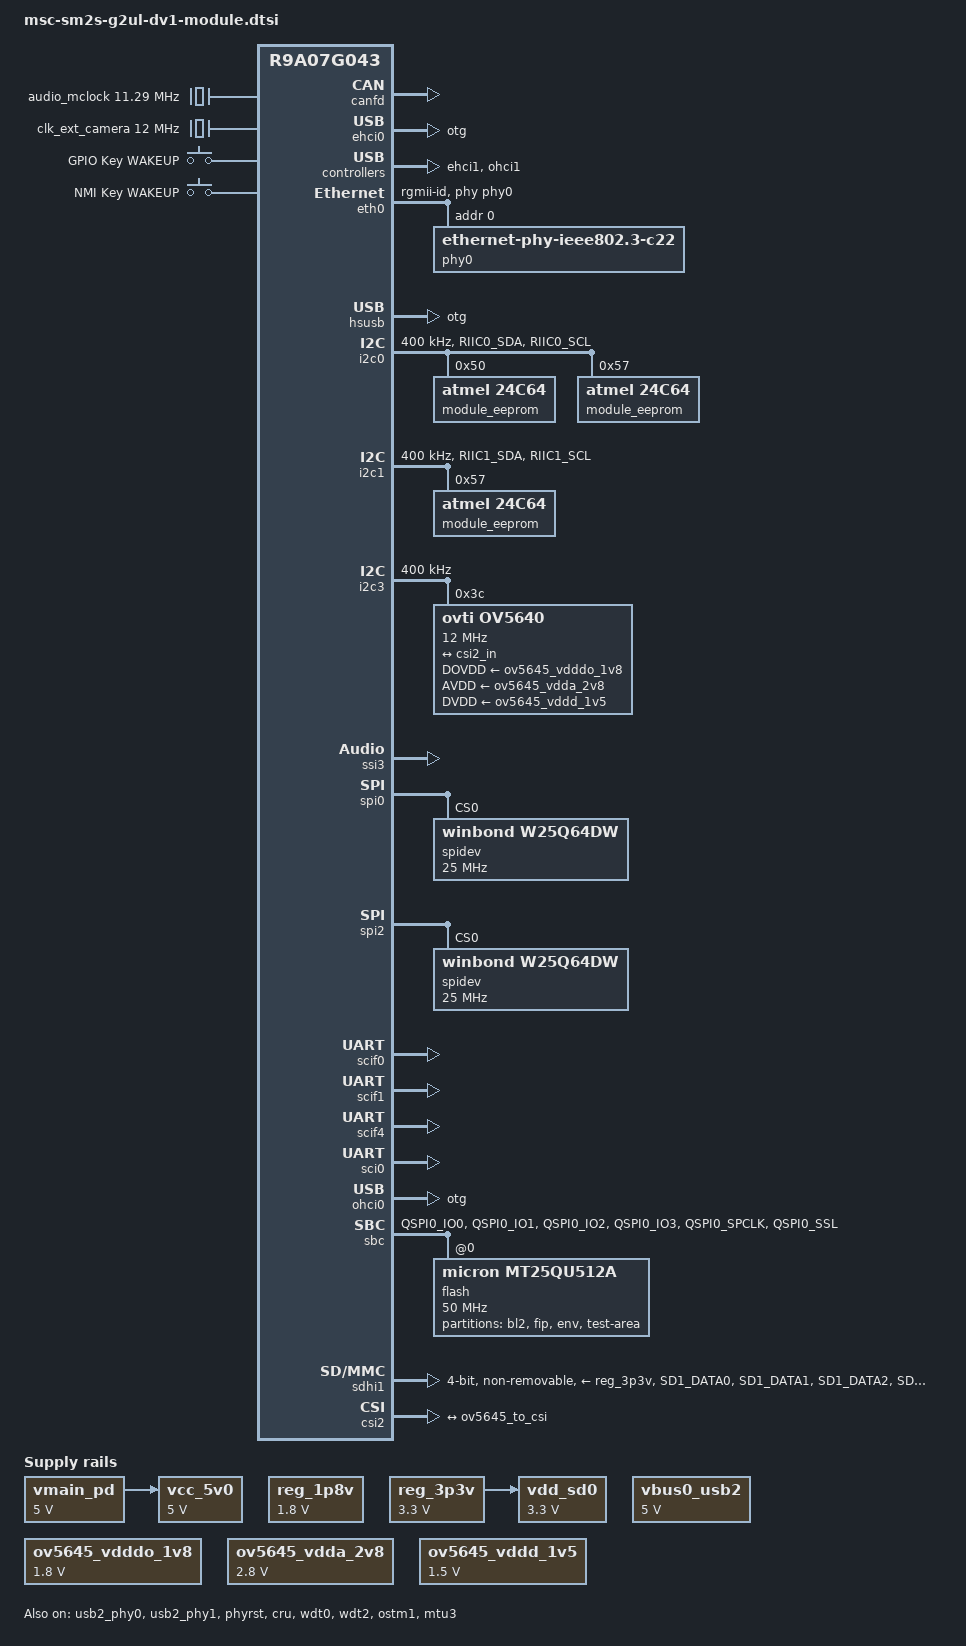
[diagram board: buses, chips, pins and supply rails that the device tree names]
/*
 * Copyright (C) 2023 Avnet Embedded GmbH
 *
 * This program is free software; you can redistribute it and/or
 * modify it under the terms of the GNU General Public License as
 * published by the Free Software Foundation version 2.
 *
 * This program is distributed "as is" WITHOUT ANY WARRANTY of any
 * kind, whether express or implied; without even the implied warranty
 * of MERCHANTABILITY or FITNESS FOR A PARTICULAR PURPOSE.  See the
 * GNU General Public License for more details.
 */


/dts-v1/;
#include "../../renesas/r9a07g043.dtsi"
#include <dt-bindings/pinctrl/rzg2l-pinctrl.h>
#include <dt-bindings/gpio/gpio.h>
#include <dt-bindings/net/ti-dp83867.h>

/*
 * If Display is enabled then SW_DISP_EN should be 1 otherwise 0.
 * Please change below MACROs corespondingly to SW1 setting
 */

#define	SW_DISP_EN	1
#define	WIFI_EN	1

/ {
	aliases {
		i2c0 = &i2c0;
		i2c1 = &i2c1;
		i2c2 = &i2c2;
		serial0 = &scif0;
		serial1 = &scif1;
		ethernet0 = &eth0;
	};

	chosen {
		bootargs = "ignore_loglevel";
		stdout-path = "serial1:115200n8";
	};

	mmngr {
		compatible = "renesas,mmngr";
		memory-region = <&mmp_reserved>;
	};

	mmngrbuf {
		compatible = "renesas,mmngrbuf";
	};

	vspm_if {
		compatible = "renesas,vspm_if";
	};

	audio_mclock: audio_mclock {
		compatible = "fixed-clock";
		#clock-cells = <0>;
		clock-frequency = <11289600>;
	};

	vmain_pd: regulator3 {
		compatible = "regulator-fixed";
		regulator-name = "vmain_pd";
		regulator-min-microvolt = <5000000>;
		regulator-max-microvolt = <5000000>;
		regulator-always-on;
		regulator-boot-on;
	};

	vcc_5v0: regulator2 {
		compatible = "regulator-fixed";
		regulator-name = "vcc_5v0";
		regulator-min-microvolt = <5000000>;
		regulator-max-microvolt = <5000000>;
		vin-supply = <&vmain_pd>;
		regulator-always-on;
		regulator-boot-on;
	};

	reg_1p8v: regulator0 {
		compatible = "regulator-fixed";
		regulator-name = "fixed-1.8V";
		regulator-min-microvolt = <1800000>;
		regulator-max-microvolt = <1800000>;
		regulator-boot-on;
		regulator-always-on;
	};

	reg_3p3v: regulator1 {
		compatible = "regulator-fixed";
		regulator-name = "fixed-3.3V";
		regulator-min-microvolt = <3300000>;
		regulator-max-microvolt = <3300000>;
		regulator-boot-on;
		regulator-always-on;
	};

	vbus0_usb2: regulator-vbus0-usb2 {
		compatible = "regulator-fixed";
		regulator-name = "USB20_VBUS0";
		regulator-min-microvolt = <5000000>;
		regulator-max-microvolt = <5000000>;
	};

	x1_clk: x1-clock {
		compatible = "fixed-clock";
		#clock-cells = <0>;
		clock-frequency = <24000000>;
	};

	vdd_sd0: regulator-1 {
		compatible = "regulator-fixed";
		regulator-name = "vdd_sd0";
		regulator-min-microvolt = <3300000>;
		regulator-max-microvolt = <3300000>;
		regulator-boot-on;
		regulator-always-on;
		vin-supply = <&reg_3p3v>;
	};

	vring-ctl0@43000000 {
		compatible = "vring_uio";
		reg = <0x0 0x43000000 0x0 0x100000>;
		no-map;
	};

	vring-ctl1@43100000 {
		compatible = "vring_uio";
		reg = <0x0 0x43100000 0x0 0x100000>;
		no-map;
	};

	vring-shm0@43200000 {
		compatible = "shm_uio";
		reg = <0x0 0x43200000 0x0 0x300000>;
		no-map;
	};

	vring-shm1@43500000 {
		compatible = "shm_uio";
		reg = <0x0 0x43500000 0x0 0x300000>;
		no-map;
	};

	rsctbl@42f00000 {
		compatible = "shm_uio";
		reg = <0x0 0x42f00000 0x0 0x1000>;
		no-map;
	};

	mhu-shm@42f01000 {
		compatible = "shm_uio";
		reg = <0x0 0x42f01000 0x0 0x1000>;
		no-map;
	};

	mbox-uio@10400000 {
		compatible = "mbox_uio";
		reg = <0x0 0x10400000 0x0 0x1000>;
		interrupt-parent = <&gic>;
		interrupts = <GIC_SPI 75 IRQ_TYPE_LEVEL_HIGH>;
		status = "okay";
	};

	x1_clk: x1-clock {
		compatible = "fixed-clock";
		#clock-cells = <0>;
		clock-frequency = <24000000>;
	};

	clk_ext_camera: clk_ext_camera {
		compatible = "fixed-clock";
		#clock-cells = <0>;
		clock-frequency = <12000000>;
	};

	ov5645_vdddo_1v8: 1p8v {
		compatible = "regulator-fixed";
		regulator-name = "camera_vdddo";
		regulator-min-microvolt = <1800000>;
		regulator-max-microvolt = <1800000>;
		regulator-always-on;
	};

	ov5645_vdda_2v8: 2p8v {
		compatible = "regulator-fixed";
		regulator-name = "camera_vdda";
		regulator-min-microvolt = <2800000>;
		regulator-max-microvolt = <2800000>;
		regulator-always-on;
	};

	ov5645_vddd_1v5: 1p5v {
		compatible = "regulator-fixed";
		regulator-name = "camera_vddd";
		regulator-min-microvolt = <1500000>;
		regulator-max-microvolt = <1500000>;
		regulator-always-on;
	};

	i2c_ids {
                compatible = "msc,i2c-ids";

		i2c_gp {
                        label = "gp"; // what is displayed in "i2cdetect -l"
                        bus = <&i2c0>; // reference to the i2c bus device
                };

		i2c_pm {
                        label = "pm";
                        bus = <&i2c1>;
                };

		i2c_lcd {
                        label = "lcd";
                        bus = <&i2c2>;
                };

		i2c_CAM {
			label = "CAM";
                        bus = <&i2c3>;
                };
        };

	gpio_keys {
        compatible = "gpio-keys";
        #address-cells = <1>;
        #size-cells = <0>;
        autorepeat;

		P2_1 {
			label = "GPIO Key WAKEUP";
			linux,code = <143>;
			wakeup-source;
			interrupt-parent = <&pinctrl>;
			interrupts = <RZG2L_GPIO(2, 1) IRQ_TYPE_EDGE_FALLING>;
			debounce-interval = <50>;
		};

		NMI {
			label = "NMI Key WAKEUP";
			linux,code = <143>;
			wakeup-source;
			interrupt-parent = <&intc_ex>;
			interrupts = <8 IRQ_TYPE_EDGE_FALLING>;
			debounce-interval = <50>;
		};
	};
};

&audio_clk1{
	clock-frequency = <11289600>;
};

&audio_clk2{
	clock-frequency = <12288000>;
};

&canfd {
	pinctrl-0 = <&canfd0_pins>;
	pinctrl-names = "default";
	status = "okay";
	channel0 {
	status = "okay";
	};
};

&ehci0 {
	dr_mode = "otg";
	status = "okay";
};

&ehci1 {
	status = "okay";
};

&eth0 {
	pinctrl-0 = <&eth0_pins>;
	pinctrl-names = "default";
	phy-handle = <&phy0>;
	phy-mode = "rgmii-id";
	status = "okay";

	phy0: ethernet-phy@0 {
		compatible = "ethernet-phy-ieee802.3-c22";
		reg = <0>;
		ti,rx-internal-delay = <DP83867_RGMIIDCTL_2_00_NS>;
		ti,tx-internal-delay = <DP83867_RGMIIDCTL_2_00_NS>;
		ti,fifo-depth = <DP83867_PHYCR_FIFO_DEPTH_4_B_NIB>;
		ti,min-output-impedance;
	};
};


&hsusb {
	dr_mode = "otg";
	status = "okay";
};

&i2c0 {
	pinctrl-0 = <&i2c0_pins>;
	pinctrl-names = "default";
		clock-frequency = <400000>;
	status = "okay";

	module_eeprom@50 {
		compatible = "atmel,24c64";
		reg = <0x50>;
		pagesize = <32>;
	};

	module_eeprom@57 {
		compatible = "atmel,24c64";
		reg = <0x57>;
		pagesize = <32>;
	};
};

&i2c1 {
	pinctrl-0 = <&i2c1_pins>;
	pinctrl-names = "default";
	clock-frequency = <400000>;
	status = "okay";
	module_eeprom@57 {
		compatible = "atmel,24c64";
		reg = <0x57>;
		pagesize = <32>;
	};
};

&i2c3 {
	clock-frequency = <400000>;
	pinctrl-0 = <&i2c3_pins>;
	pinctrl-names = "default";
	status = "okay";

	ov5640: ov5640@3c {
		compatible = "ovti,ov5640";
		reg = <0x3c>;
		clock-names = "xclk";
		clocks = <&clk_ext_camera>;
		clock-frequency = <12000000>;
		DOVDD-supply = <&ov5645_vdddo_1v8>;
		AVDD-supply = <&ov5645_vdda_2v8>;
		DVDD-supply = <&ov5645_vddd_1v5>;

		port {
			ov5645_to_csi: endpoint {
				clock-lanes = <0>;
				data-lanes = <1 2>;
				remote-endpoint = <&csi2_in>;
				bus-width = <8>;
				hsync-active = <0>;
				vsync-active = <1>;
				pclk-sample = <0>;
			};
		};
	};
};

&ssi3 {
	pinctrl-0 = <&ssi3_pins>;
	pinctrl-names = "default";
	status = "okay";
};

&usb2_phy0 {
	pinctrl-0 = <&usb0_pins>;
	pinctrl-names = "default";
	//Enable VBUS for USB0
	gpio = <&exp2 13 GPIO_ACTIVE_HIGH>;
	vbus-supply = <&vbus0_usb2>;
	status = "okay";
};

&usb2_phy1 {
	/*pinctrl-0 = <&usb1_pins>;
	pinctrl-names = "default";*/
	status = "okay";
};

&spi0 {
	pinctrl-0 = <&spi0_pins>;
	pinctrl-names = "default";
	status = "okay";

	spidev@0x00 {
		compatible="winbond,w25q64dw","jedec,spi-nor";
		spi-max-frequency = <25000000>;
		reg = <0>;
	};
};

&spi2 {
	pinctrl-0 = <&spi2_pins>;
	pinctrl-names = "default";
	status = "okay";

	spidev@0x00 {
	compatible="winbond,w25q64dw","jedec,spi-nor";
	spi-max-frequency = <25000000>;
	reg = <0>;
	};
};

&scif0 {
	pinctrl-0 = <&scif0_pins>;
	pinctrl-names = "default";
	status = "okay";
};

&scif1 {
	pinctrl-0 = <&scif1_pins>;
	pinctrl-names = "default";
	/*uart-has-rtscts;*/
	status = "okay";
};

&scif4 {
	pinctrl-0 = <&scif4_pins>;
	pinctrl-names = "default";
	status = "okay";
};

//Comments:sci0 : M3 and M6 pins are used but Name is not verified with r9...It is serial.

&sci0 {
	pinctrl-0 = <&sci0_pins>;
	pinctrl-names = "default";
	status = "okay";
};

&phyrst {
	status = "okay";
};

&ohci0 {
	dr_mode = "otg";
	status = "okay";
};

&ohci1 {
	status = "okay";
};

&pinctrl {
	pinctrl-0 = <&sound_clk_pins>;
	pinctrl-names = "default";

	i2c2_pins: i2c2 {
		pinmux = <RZG2L_PORT_PINMUX(0, 3, 4)>, /* RIIC2_SCL */
				<RZG2L_PORT_PINMUX(0, 2, 4)>; /*RIIC2_SDA*/
	};

	i2c3_pins: i2c3 {
		pinmux = <RZG2L_PORT_PINMUX(0, 1, 3)>, /* RIIC3_SCL */
				<RZG2L_PORT_PINMUX(0, 0, 3)>; /*RIIC3_SDA*/
	};

	canfd0_pins: can0 {
		pinmux = <RZG2L_PORT_PINMUX(6, 1, 3)>, /* TX */
			 <RZG2L_PORT_PINMUX(6, 2, 3)>; /* RX */
	};

	eth0_pins: eth0 {
		pinmux =
			 <RZG2L_PORT_PINMUX(4, 3, 1)>, /* ET0_MDC */
			 <RZG2L_PORT_PINMUX(4, 4, 1)>, /* ET0_MDIO */
			 <RZG2L_PORT_PINMUX(1, 0, 1)>, /* ET0_TXC */
			 <RZG2L_PORT_PINMUX(1, 1, 1)>, /* ET0_TX_CTL */
			 <RZG2L_PORT_PINMUX(1, 2, 1)>, /* ET0_TXD0 */
			 <RZG2L_PORT_PINMUX(1, 3, 1)>, /* ET0_TXD1 */
			 <RZG2L_PORT_PINMUX(1, 4, 1)>, /* ET0_TXD2 */
			 <RZG2L_PORT_PINMUX(2, 0, 1)>, /* ET0_TXD3 */
			 <RZG2L_PORT_PINMUX(3, 0, 1)>, /* ET0_RXC */
			 <RZG2L_PORT_PINMUX(3, 1, 1)>, /* ET0_RX_CTL */
			 <RZG2L_PORT_PINMUX(3, 2, 1)>, /* ET0_RXD0 */
			 <RZG2L_PORT_PINMUX(3, 3, 1)>, /* ET0_RXD1 */
			 <RZG2L_PORT_PINMUX(4, 0, 1)>, /* ET0_RXD2 */
			 <RZG2L_PORT_PINMUX(4, 1, 1)>; /* ET0_RXD3 */
	};

	i2c0_pins: i2c0 {
		pins = "RIIC0_SDA", "RIIC0_SCL";
		input-enable;
	};

	i2c1_pins: i2c1 {
		pins = "RIIC1_SDA", "RIIC1_SCL";
		input-enable;
	};

	/* Support pinctrl for uSD / Wifi */
	sdhi0_pins: sd0 {
		sd0_data {
			pins =  "SD0_DATA0", "SD0_DATA1", "SD0_DATA2",
					"SD0_DATA3";
			power-source  = <3300>;
		};

		sd0_ctrl {
			pins = "SD0_CLK", "SD0_CMD";
			power-source = <3300>;
		};
	};

	/* Support pinctrl for UHS uSD */
	sdhi0_pins_uhs: sd0_uhs {
		sd0_data_uhs {
			pins =	"SD0_DATA0", "SD0_DATA1", "SD0_DATA2",
					"SD0_DATA3";
			power-source  = <1800>;
		};

		sd0_ctrl_uhs {
			pins = "SD0_CLK", "SD0_CMD";
			power-source  = <1800>;
		};
	};

	// For MMC
	sdhi1_pins: sd1 {
		sd1_data {
			pins =	"SD1_DATA0", "SD1_DATA1",
				"SD1_DATA2", "SD1_DATA3";
			power-source  = <1800>;
		};

		sd1_ctrl {
			pins = "SD1_CLK", "SD1_CMD";
			power-source  = <1800>;
		};
	};

	ssi3_pins: ssi3 {
		pinmux = <RZG2L_PORT_PINMUX(10, 1, 3)>, /* SSI3_BCK */
				<RZG2L_PORT_PINMUX(10, 2, 3)>, /*SSI3_RCK*/
				<RZG2L_PORT_PINMUX(10, 3, 3)>, /*SSI3_TXD*/
				<RZG2L_PORT_PINMUX(10, 4, 3)>; /*SSI3_RXD*/
	};

	sound_clk_pins: sound_clk {
		pins = "AUDIO_CLK1", "AUDIO_CLK2";
		input-enable;
	};

	usb0_pins: usb0 {
		pinmux = /*<RZG2L_PORT_PINMUX(5, 0, 1)>,
				<RZG2L_PORT_PINMUX(5, 2, 1)>,
				<RZG2L_PORT_PINMUX(5, 3, 1)>;*/ /* OTG_ID */
				<RZG2L_PORT_PINMUX(5, 2, 1)>; /* OVC */
	};

	usb1_pins: usb1 {
		pinmux = <RZG2L_PORT_PINMUX(6, 0, 1)>;
	};

	spi0_pins: rspi0 {
		pinmux = <RZG2L_PORT_PINMUX(9, 0, 2)>, /* RSPI0_CK */
				<RZG2L_PORT_PINMUX(9, 1, 2)>, /*RSPI0_MOSI*/
				<RZG2L_PORT_PINMUX(9, 2, 2)>, /*RSPI0_MISO*/
				<RZG2L_PORT_PINMUX(9, 3, 2)>; /*RSPI0_SSL*/
	};

	spi2_pins: rspi2 {
		pinmux = <RZG2L_PORT_PINMUX(7, 0, 3)>, /* RSPI2_CK */
				<RZG2L_PORT_PINMUX(7, 1, 3)>, /*RSPI2_MOSI*/
				<RZG2L_PORT_PINMUX(7, 2, 3)>, /*RSPI2_MISO*/
				<RZG2L_PORT_PINMUX(7, 3, 3)>; /*RSPI2_SSL*/
	};

	qspi0_pins: qspi0 {
		qspi0-data {
			pins = "QSPI0_IO0", "QSPI0_IO1", "QSPI0_IO2", "QSPI0_IO3";
			power-source = <3300>;
		};

		qspi0-ctrl {
			pins = "QSPI0_SPCLK", "QSPI0_SSL";
			power-source = <3300>;
		};
	};

	scif0_pins: scif0 {
		pinmux = <RZG2L_PORT_PINMUX(6, 4, 6)>, /* TxD */
				<RZG2L_PORT_PINMUX(6, 3, 6)>; /* RxD */
	};

	scif1_pins: scif1 {
                        pinmux = <RZG2L_PORT_PINMUX(8, 0, 3)>, /* SCIF1_RXD */
                                        <RZG2L_PORT_PINMUX(8, 1, 3)>;/*SCIF1_TXD*/
        };

	scif2_pins: scif2 {
		pinmux = <RZG2L_PORT_PINMUX(5, 0, 2)>, /* SCIF2_TXD */
				<RZG2L_PORT_PINMUX(5, 1, 2)>, /*SCIF2_RXD*/
				<RZG2L_PORT_PINMUX(5, 3, 2)>, /*SCIF2_CTS*/
				<RZG2L_PORT_PINMUX(5, 4, 2)>; /*SCIF2_RTS*/
	};

	scif4_pins: scif4 {
		pinmux = <RZG2L_PORT_PINMUX(18, 4, 7)>, /* SCIF4_RXD */
				<RZG2L_PORT_PINMUX(18, 5, 7)>; /*SCIF4_TXD*/
	};

	sci0_pins: sci0 {
		pinmux = <RZG2L_PORT_PINMUX(2, 2, 5)>, /*SCI0_TXD*/
				<RZG2L_PORT_PINMUX(2, 3, 5)>; /* SCI0_RXD*/
	};

	mtu7_pins:mtu7 {
		pinmux = <RZG2L_PORT_PINMUX(6, 0, 5)>;
	};
};

&sbc {
	pinctrl-0 = <&qspi0_pins>;
	pinctrl-names = "default";
	status = "okay";

	flash@0 {
		compatible = "micron,mt25qu512a", "jedec,spi-nor";
		reg = <0>;
		m25p,fast-read;
		spi-max-frequency = <50000000>;
		spi-tx-bus-width = <1>;
		spi-rx-bus-width = <4>;

		partitions {
			compatible = "fixed-partitions";
			#address-cells = <1>;
			#size-cells = <1>;

			partition@000000 {
				label = "bl2";
				reg = <0x00000000 0x0001D200>;
				read-only;
			};
			partition@01D200 {
				label = "fip";
				reg = <0x0001D200 0x001C2E00>;
				read-only;
			};
			partition@1E0000 {
				label = "env";
				reg = <0x001E0000 0x00020000>;
				read-only;
			};
			partition@200000 {
				label = "test-area";
				reg = <0x00200000 0x00E00000>;
			};
		};
	};
};

//eMMC
&sdhi1 {
	pinctrl-0 = <&sdhi1_pins>;
	pinctrl-1 = <&sdhi1_pins>;
	pinctrl-names = "default", "state_uhs";

	vmmc-supply = <&reg_3p3v>;
	vqmmc-supply = <&reg_1p8v>;
	bus-width = <4>;
	mmc-hs200-1_8v;
	non-removable;
	fixed-emmc-driver-type = <1>;
	status = "okay";
};

&extal_clk {
	clock-frequency = <24000000>;
};

&cru {
	status = "okay";
};

&csi2 {
	status = "okay";
	ports {
		port {
			csi2_in: endpoint {
				clock-lanes = <0>;
				data-lanes = <1 2>;
				remote-endpoint = <&ov5645_to_csi>;
			};
		};
	};
};

&wdt0 {
	status = "okay";
	timeout-sec = <60>;
};

&wdt2 {
	status = "okay";
	timeout-sec = <60>;
};

&ostm1 {
	status = "okay";
};

&ostm2 {
	status = "disabled";
};

&ehci0 {
	memory-region = <&global_cma>;
};

&ohci0 {
	memory-region = <&global_cma>;
};

&ehci1 {
	memory-region = <&global_cma>;
};

&ohci1 {
	memory-region = <&global_cma>;
};

&mtu3 {
	pinctrl-0 = <&mtu7_pins>;
	pinctrl-names = "default";
	pwm_mode1 = <7 0>;
	pwm_complementary = <7 0>;
	#pwm-cells = <2>;
	clocks = <&cpg CPG_MOD R9A07G043_MTU_X_MCK_MTU3>;
	clock-names = "fck";
	/*pwm-params = <MTU_PWM_NORMAL 0 50>;*/
	status = "okay";
};

&intc_ex {
	status = "okay";
};
